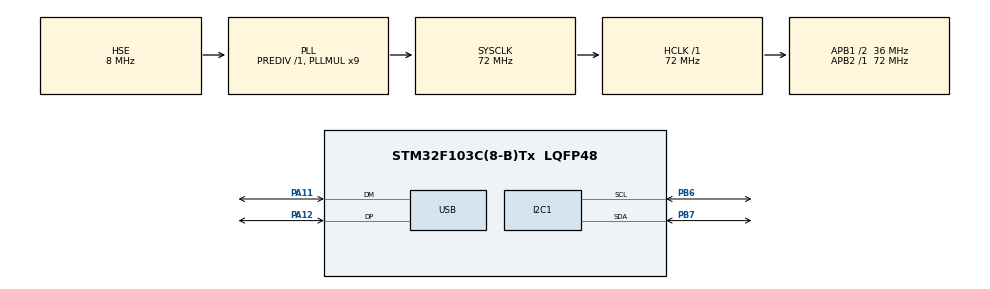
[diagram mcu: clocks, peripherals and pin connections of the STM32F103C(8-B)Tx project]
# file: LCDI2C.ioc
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Dma.I2C1_TX.0.Direction=DMA_MEMORY_TO_PERIPH
Dma.I2C1_TX.0.Instance=DMA1_Channel6
Dma.I2C1_TX.0.MemDataAlignment=DMA_MDATAALIGN_BYTE
Dma.I2C1_TX.0.MemInc=DMA_MINC_ENABLE
Dma.I2C1_TX.0.Mode=DMA_NORMAL
Dma.I2C1_TX.0.PeriphDataAlignment=DMA_PDATAALIGN_BYTE
Dma.I2C1_TX.0.PeriphInc=DMA_PINC_DISABLE
Dma.I2C1_TX.0.Priority=DMA_PRIORITY_LOW
Dma.Request0=I2C1_TX
IWDG.Prescaler=IWDG_PRESCALER_32
IWDG.Reload=2500
Mcu.Family=STM32F1
Mcu.Name=STM32F103C(8-B)Tx
Mcu.Package=LQFP48
NVIC.DMA1_Channel6_IRQn=true\:0\:0\:false\:false\:true\:false\:true\:true
NVIC.I2C1_EV_IRQn=true\:0\:0\:false\:false\:true\:true\:true\:true
NVIC.PriorityGroup=NVIC_PRIORITYGROUP_4
NVIC.USB_LP_CAN1_RX0_IRQn=true\:0\:0\:false\:false\:true\:false\:true\:true
PA11.Mode=Device
PA11.Signal=USB_DM
PA12.Mode=Device
PA12.Signal=USB_DP
PA13.Mode=Serial_Wire
PA13.Signal=SYS_JTMS-SWDIO
PA14.Mode=Serial_Wire
PA14.Signal=SYS_JTCK-SWCLK
PB6.GPIO_Pu=GPIO_PULLUP
PB6.Mode=I2C
PB6.Signal=I2C1_SCL
PB7.GPIO_Pu=GPIO_PULLUP
PB7.Mode=I2C
PB7.Signal=I2C1_SDA
PD0-OSC_IN.Mode=HSE-External-Oscillator
PD0-OSC_IN.Signal=RCC_OSC_IN
PD1-OSC_OUT.Mode=HSE-External-Oscillator
PD1-OSC_OUT.Signal=RCC_OSC_OUT
ProjectManager.HeapSize=0x200
ProjectManager.StackSize=0x400
ProjectManager.TargetToolchain=STM32CubeIDE
RCC.AHBFreq_Value=72000000
RCC.APB1CLKDivider=RCC_HCLK_DIV2
RCC.APB1Freq_Value=36000000
RCC.APB1TimFreq_Value=72000000
RCC.APB2Freq_Value=72000000
RCC.APB2TimFreq_Value=72000000
RCC.EnbaleCSS=true
RCC.HCLKFreq_Value=72000000
RCC.PLLMUL=RCC_PLL_MUL9
RCC.SYSCLKFreq_VALUE=72000000
RCC.SYSCLKSource=RCC_SYSCLKSOURCE_PLLCLK
RCC.USBFreq_Value=48000000
RCC.USBPrescaler=RCC_USBCLKSOURCE_PLL_DIV1_5
USB_DEVICE.CLASS_NAME_FS=CDC
USB_DEVICE.VirtualMode=Cdc
USB_DEVICE.VirtualModeFS=Cdc_FS
VP_IWDG_VS_IWDG.Mode=IWDG_Activate
VP_USB_DEVICE_VS_USB_DEVICE_CDC_FS.Mode=CDC_FS
board=custom

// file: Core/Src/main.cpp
/* USER CODE BEGIN Header */
/**
  ******************************************************************************
  * @file           : main.c
  * @brief          : Main program body
  ******************************************************************************
  * @attention
  *
  * <h2><center>&copy; Copyright (c) 2021 STMicroelectronics.
  * All rights reserved.</center></h2>
  *
  * This software component is licensed by ST under BSD 3-Clause license,
  * the "License"; You may not use this file except in compliance with the
  * License. You may obtain a copy of the License at:
  *                        opensource.org/licenses/BSD-3-Clause
  *
  ******************************************************************************
  */
/* USER CODE END Header */
#include "main.h"
#include "usb_device.h"

/* USER CODE BEGIN Includes */
#include "usbd_cdc_if.h"
#include "LCD_I2C.hpp"
#include "dwt_stm32_delay.h"
/* USER CODE END Includes */

I2C_HandleTypeDef hi2c1;
DMA_HandleTypeDef hdma_i2c1_tx;

IWDG_HandleTypeDef hiwdg;

/* USER CODE BEGIN PV */
LCDI2C lcd(0x4E,2,16,&hi2c1);

uint32_t nextShow;
uint8_t Data[100];
/* USER CODE END PV */

void SystemClock_Config(void);
static void MX_GPIO_Init(void);
static void MX_DMA_Init(void);
static void MX_I2C1_Init(void);
static void MX_IWDG_Init(void);

/* USER CODE BEGIN 0 */
void ReadUSB(uint8_t *Buf,uint16_t Len)
{

}
/* USER CODE END 0 */

int main(void)
{

  /* MCU Configuration--------------------------------------------------------*/

  /* Reset of all peripherals, Initializes the Flash interface and the Systick. */
  HAL_Init();

  /* Configure the system clock */
  SystemClock_Config();

  /* Initialize all configured peripherals */
  MX_GPIO_Init();
  MX_DMA_Init();
  MX_I2C1_Init();
  MX_IWDG_Init();
  MX_USB_DEVICE_Init();
  /* USER CODE BEGIN 2 */
  __HAL_IWDG_START(&hiwdg);
  HAL_IWDG_Refresh(&hiwdg);
  /* USER CODE END 2 */

  /* Infinite loop */
  /* USER CODE BEGIN WHILE */
  lcd.begin();
  lcd.noBlink();
  lcd.noCursor();
  nextShow = HAL_GetTick() + 1000;
  while (1)
  {
	  HAL_IWDG_Refresh(&hiwdg);
	  if(HAL_GetTick() >= nextShow)
	  {
		  nextShow = HAL_GetTick() + 1000;
		  sprintf((char *)Data,"ST : %06d\r\n",(int)(HAL_GetTick()/1000));
		  lcd.setCursor(0,0);
		  lcd.printstr(Data);
		  CDC_Transmit_FS(Data, strlen((char *)Data));
	  }
    /* USER CODE END WHILE */

  }
}

void SystemClock_Config(void)
{
  RCC_OscInitTypeDef RCC_OscInitStruct = {0};
  RCC_ClkInitTypeDef RCC_ClkInitStruct = {0};
  RCC_PeriphCLKInitTypeDef PeriphClkInit = {0};

  /** Initializes the RCC Oscillators according to the specified parameters
  * in the RCC_OscInitTypeDef structure.
  */
  RCC_OscInitStruct.OscillatorType = RCC_OSCILLATORTYPE_LSI|RCC_OSCILLATORTYPE_HSE;
  RCC_OscInitStruct.HSEState = RCC_HSE_ON;
  RCC_OscInitStruct.HSEPredivValue = RCC_HSE_PREDIV_DIV1;
  RCC_OscInitStruct.HSIState = RCC_HSI_ON;
  RCC_OscInitStruct.LSIState = RCC_LSI_ON;
  RCC_OscInitStruct.PLL.PLLState = RCC_PLL_ON;
  RCC_OscInitStruct.PLL.PLLSource = RCC_PLLSOURCE_HSE;
  RCC_OscInitStruct.PLL.PLLMUL = RCC_PLL_MUL9;
  if (HAL_RCC_OscConfig(&RCC_OscInitStruct) != HAL_OK)
  {
    Error_Handler();
  }
  /** Initializes the CPU, AHB and APB buses clocks
  */
  RCC_ClkInitStruct.ClockType = RCC_CLOCKTYPE_HCLK|RCC_CLOCKTYPE_SYSCLK
                              |RCC_CLOCKTYPE_PCLK1|RCC_CLOCKTYPE_PCLK2;
  RCC_ClkInitStruct.SYSCLKSource = RCC_SYSCLKSOURCE_PLLCLK;
  RCC_ClkInitStruct.AHBCLKDivider = RCC_SYSCLK_DIV1;
  RCC_ClkInitStruct.APB1CLKDivider = RCC_HCLK_DIV2;
  RCC_ClkInitStruct.APB2CLKDivider = RCC_HCLK_DIV1;

  if (HAL_RCC_ClockConfig(&RCC_ClkInitStruct, FLASH_LATENCY_2) != HAL_OK)
  {
    Error_Handler();
  }
  PeriphClkInit.PeriphClockSelection = RCC_PERIPHCLK_USB;
  PeriphClkInit.UsbClockSelection = RCC_USBCLKSOURCE_PLL_DIV1_5;
  if (HAL_RCCEx_PeriphCLKConfig(&PeriphClkInit) != HAL_OK)
  {
    Error_Handler();
  }
  /** Enables the Clock Security System
  */
  HAL_RCC_EnableCSS();
}

static void MX_I2C1_Init(void)
{

  hi2c1.Instance = I2C1;
  hi2c1.Init.ClockSpeed = 100000;
  hi2c1.Init.DutyCycle = I2C_DUTYCYCLE_2;
  hi2c1.Init.OwnAddress1 = 0;
  hi2c1.Init.AddressingMode = I2C_ADDRESSINGMODE_7BIT;
  hi2c1.Init.DualAddressMode = I2C_DUALADDRESS_DISABLE;
  hi2c1.Init.OwnAddress2 = 0;
  hi2c1.Init.GeneralCallMode = I2C_GENERALCALL_DISABLE;
  hi2c1.Init.NoStretchMode = I2C_NOSTRETCH_DISABLE;
  if (HAL_I2C_Init(&hi2c1) != HAL_OK)
  {
    Error_Handler();
  }

}

static void MX_IWDG_Init(void)
{

  hiwdg.Instance = IWDG;
  hiwdg.Init.Prescaler = IWDG_PRESCALER_32;
  hiwdg.Init.Reload = 2500;
  if (HAL_IWDG_Init(&hiwdg) != HAL_OK)
  {
    Error_Handler();
  }

}

static void MX_DMA_Init(void)
{

  /* DMA controller clock enable */
  __HAL_RCC_DMA1_CLK_ENABLE();

  /* DMA interrupt init */
  /* DMA1_Channel6_IRQn interrupt configuration */
  HAL_NVIC_SetPriority(DMA1_Channel6_IRQn, 0, 0);
  HAL_NVIC_EnableIRQ(DMA1_Channel6_IRQn);

}

static void MX_GPIO_Init(void)
{

  /* GPIO Ports Clock Enable */
  __HAL_RCC_GPIOD_CLK_ENABLE();
  __HAL_RCC_GPIOA_CLK_ENABLE();
  __HAL_RCC_GPIOB_CLK_ENABLE();

}

void Error_Handler(void)
{
  __disable_irq();
  while (1)
  {
  }
}

/************************ (C) COPYRIGHT STMicroelectronics *****END OF FILE****/
